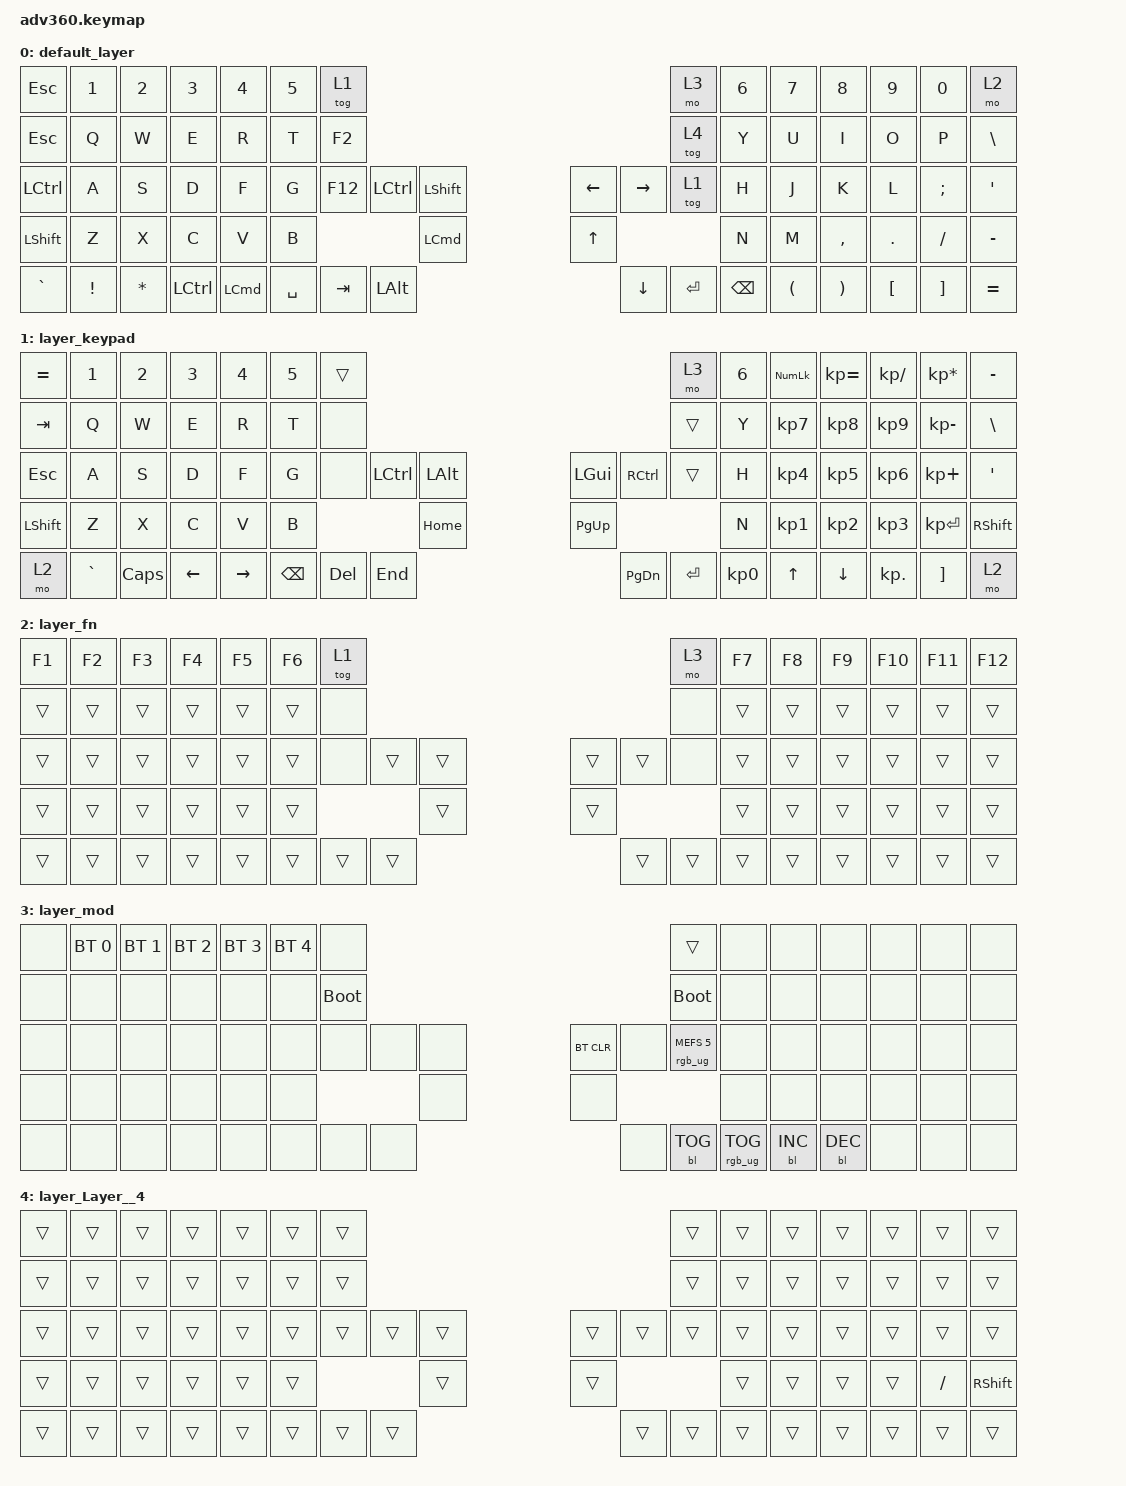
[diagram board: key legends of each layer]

/*
 * Copyright (c) 2020 The ZMK Contributors
 *
 * SPDX-License-Identifier: MIT
 */


/* THIS FILE WAS GENERATED!
 *
 * This file was generated automatically. You may or may not want to
 * edit it directly.
 */

#include <behaviors.dtsi>
#include <dt-bindings/zmk/keys.h>
#include <dt-bindings/zmk/bt.h>
#include <dt-bindings/zmk/rgb.h>
#include <dt-bindings/zmk/backlight.h>

/ {
  behaviors {
    #include "macros.dtsi"

    hm: homerow_mods {
        compatible = "zmk,behavior-hold-tap";
        label = "HOMEROW_MODS";
        #binding-cells = <2>;
        tapping-term-ms = <200>;
        quick_tap_ms = <175>;
        flavor = "tap-preferred";
        bindings = <&kp>, <&kp>;
    };
  };

    keymap {
        compatible = "zmk,keymap";


        default_layer {
            bindings = <
       &kp ESCAPE           &kp N1        &kp N2            &kp N3            &kp N4  &kp N5               &tog 1                                                                                        &mo 3  &kp N6                &kp N7                 &kp N8    &kp N9    &kp N0      &mo 2
       &kp ESCAPE            &kp Q         &kp W             &kp E             &kp R   &kp T               &kp F2                                                                                       &tog 4   &kp Y                 &kp U                  &kp I     &kp O     &kp P   &kp BSLH
 &kp LEFT_CONTROL            &kp A         &kp S             &kp D             &kp F   &kp G              &kp F12  &kp LCTRL    &kp LEFT_SHIFT                  &kp LEFT_ARROW  &kp RIGHT_ARROW         &tog 1   &kp H                 &kp J                  &kp K     &kp L  &kp SEMI    &kp SQT
        &kp LSHFT            &kp Z         &kp X             &kp C             &kp V   &kp B                                  &kp LEFT_COMMAND                    &kp UP_ARROW                                   &kp N                 &kp M              &kp COMMA   &kp DOT  &kp FSLH  &kp MINUS
        &kp GRAVE  &kp EXCLAMATION  &kp ASTERISK  &kp LEFT_CONTROL  &kp LEFT_COMMAND                    &kp SPACE    &kp TAB      &kp LEFT_ALT                  &kp DOWN_ARROW        &kp ENTER  &kp BACKSPACE          &kp LEFT_PARENTHESIS  &kp RIGHT_PARENTHESIS  &kp LBKT  &kp RBKT  &kp EQUAL
            >;
        };

        layer_keypad {
            bindings = <
 &kp EQUAL     &kp N1    &kp N2    &kp N3     &kp N4  &kp N5              &trans                                                                 &mo 3  &kp N6  &kp KP_NUM  &kp KP_EQUAL  &kp KP_DIVIDE  &kp KP_MULTIPLY  &kp MINUS
   &kp TAB      &kp Q     &kp W     &kp E      &kp R   &kp T               &none                                                                &trans   &kp Y   &kp KP_N7     &kp KP_N8      &kp KP_N9     &kp KP_MINUS   &kp BSLH
   &kp ESC      &kp A     &kp S     &kp D      &kp F   &kp G               &none  &kp LCTRL  &kp LALT                   &kp LGUI  &kp RCTRL     &trans   &kp H   &kp KP_N4     &kp KP_N5      &kp KP_N6      &kp KP_PLUS    &kp SQT
 &kp LSHFT      &kp Z     &kp X     &kp C      &kp V   &kp B                                 &kp HOME                  &kp PG_UP                         &kp N   &kp KP_N1     &kp KP_N2      &kp KP_N3     &kp KP_ENTER  &kp RSHFT
     &mo 2  &kp GRAVE  &kp CAPS  &kp LEFT  &kp RIGHT                    &kp BSPC    &kp DEL   &kp END                  &kp PG_DN  &kp ENTER  &kp KP_N0              &kp UP      &kp DOWN     &kp KP_DOT         &kp RBKT      &mo 2
            >;
        };

        layer_fn {
            bindings = <
 &kp F1  &kp F2  &kp F3  &kp F4  &kp F5  &kp F6            &tog 1                                                   &mo 3  &kp F7  &kp F8  &kp F9  &kp F10  &kp F11  &kp F12
 &trans  &trans  &trans  &trans  &trans  &trans             &none                                                   &none  &trans  &trans  &trans   &trans   &trans   &trans
 &trans  &trans  &trans  &trans  &trans  &trans             &none  &trans  &trans                  &trans  &trans   &none  &trans  &trans  &trans   &trans   &trans   &trans
 &trans  &trans  &trans  &trans  &trans  &trans                            &trans                  &trans                  &trans  &trans  &trans   &trans   &trans   &trans
 &trans  &trans  &trans  &trans  &trans                    &trans  &trans  &trans                  &trans  &trans  &trans          &trans  &trans   &trans   &trans   &trans
            >;
        };

        layer_mod {
            bindings = <
  &none  &bt BT_SEL 0  &bt BT_SEL 1  &bt BT_SEL 2  &bt BT_SEL 3  &bt BT_SEL 4                  &none                                                                          &trans   &none       &none       &none   &none   &none   &none
  &none         &none         &none         &none         &none         &none            &bootloader                                                                     &bootloader   &none       &none       &none   &none   &none   &none
  &none         &none         &none         &none         &none         &none                  &none   &none   &none                  &bt BT_CLR       &none  &rgb_ug RGB_MEFS_CMD 5   &none       &none       &none   &none   &none   &none
  &none         &none         &none         &none         &none         &none                                  &none                       &none                                       &none       &none       &none   &none   &none   &none
  &none         &none         &none         &none         &none                                &none   &none   &none                       &none  &bl BL_TOG         &rgb_ug RGB_TOG          &bl BL_INC  &bl BL_DEC   &none   &none   &none
            >;
        };

        layer_Layer__4 {
            bindings = <
 &trans  &trans  &trans  &trans  &trans  &trans            &trans                                                  &trans  &trans  &trans  &trans  &trans     &trans           &trans
 &trans  &trans  &trans  &trans  &trans  &trans            &trans                                                  &trans  &trans  &trans  &trans  &trans     &trans           &trans
 &trans  &trans  &trans  &trans  &trans  &trans            &trans  &trans  &trans                  &trans  &trans  &trans  &trans  &trans  &trans  &trans     &trans           &trans
 &trans  &trans  &trans  &trans  &trans  &trans                            &trans                  &trans                  &trans  &trans  &trans  &trans  &kp SLASH  &kp RIGHT_SHIFT
 &trans  &trans  &trans  &trans  &trans                    &trans  &trans  &trans                  &trans  &trans  &trans          &trans  &trans  &trans     &trans           &trans
            >;
        };

    };
};
